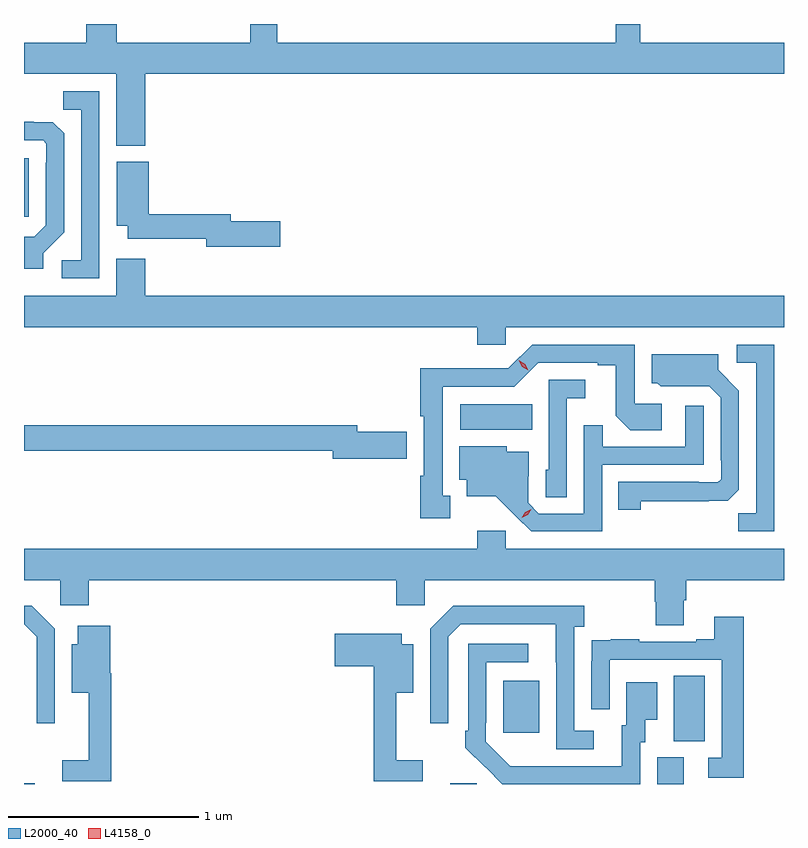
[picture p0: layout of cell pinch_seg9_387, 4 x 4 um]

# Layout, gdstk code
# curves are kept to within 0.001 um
import gdstk
lib = gdstk.Library(unit=1e-6, precision=1e-09)
def R(c, l, rs):  # rectangles x0, y0, x1, y1
    for r in rs: c.add(gdstk.rectangle(r[:2], r[2:], *l))
def P(c, l, *ps):  # polygons
    for p in ps: c.add(gdstk.Polygon(p, *l))
L2000_40 = (2000, 40)
L4158_0 = (4158, 0)

pinch_seg9_387 = lib.new_cell('pinch_seg9_387')
R(pinch_seg9_387, L2000_40, [(327.998,1232.643,328.054,1232.646), (330.242,1232.643,330.381,1232.646), (331.331,1232.643,331.471,1232.784), (331.418,1232.869,331.582,1233.212), (330.521,1232.913,330.709,1233.187), (330.294,1234.508,330.674,1234.642), (327.998,1235.628,328.023,1235.937)])
P(pinch_seg9_387, L2000_40, [(331.998,1236.544),(331.241,1236.544),(331.241,1236.643),(331.113,1236.643),(331.113,1236.544),(329.33,1236.544),(329.33,1236.643),(329.189,1236.643),(329.189,1236.544),(328.485,1236.544),(328.485,1236.643),(328.325,1236.643),(328.325,1236.544),(327.998,1236.544),(327.998,1236.38),(328.484,1236.38),(328.484,1236.002),(328.637,1236.002),(328.637,1236.38),(331.998,1236.38)],
  [(328.395,1236.288),(328.204,1236.288),(328.204,1236.193),(328.299,1236.193),(328.299,1235.4),(328.197,1235.4),(328.197,1235.304),(328.395,1235.304)],
  [(328.099,1235.436),(328.209,1235.546),(328.209,1236.068),(328.15,1236.127),(327.998,1236.128),(327.998,1236.03),(328.098,1236.03),(328.116,1236.012),(328.116,1235.912),(328.113,1235.912),(328.113,1235.583),(328.053,1235.523),(327.998,1235.523),(327.998,1235.354),(328.099,1235.354)],
  [(329.347,1235.606),(329.086,1235.606),(329.086,1235.642),(328.654,1235.642),(328.654,1235.917),(328.487,1235.917),(328.487,1235.582),(328.544,1235.582),(328.544,1235.514),(328.958,1235.514),(328.958,1235.471),(329.347,1235.471)],
  [(330.534,1235.048),(331.998,1235.048),(331.998,1235.212),(328.637,1235.212),(328.637,1235.407),(328.484,1235.407),(328.484,1235.212),(327.998,1235.212),(327.998,1235.048),(330.383,1235.048),(330.383,1234.955),(330.534,1234.955)],
  [(330.241,1234.161),(330.202,1234.161),(330.202,1234.734),(330.579,1234.734),(330.705,1234.86),(331.019,1234.86),(331.019,1234.848),(331.113,1234.848),(331.113,1234.58),(331.189,1234.504),(331.354,1234.504),(331.354,1234.644),(331.212,1234.644),(331.212,1234.956),(330.672,1234.956),(330.546,1234.83),(330.324,1234.83),(330.324,1234.832),(330.084,1234.832),(330.084,1234.579),(330.101,1234.579),(330.101,1234.265),(330.084,1234.265),(330.084,1234.041),(330.241,1234.041)],
  [(331.947,1234.956),(331.749,1234.956),(331.749,1234.86),(331.851,1234.86),(331.851,1234.067),(331.756,1234.067),(331.756,1233.972),(331.947,1233.972)],
  [(331.245,1234.132),(331.702,1234.133),(331.761,1234.192),(331.761,1234.714),(331.651,1234.824),(331.651,1234.906),(331.301,1234.906),(331.301,1234.752),(331.332,1234.752),(331.348,1234.736),(331.605,1234.737),(331.665,1234.677),(331.665,1234.348),(331.668,1234.348),(331.668,1234.248),(331.65,1234.23),(331.55,1234.23),(331.55,1234.233),(331.126,1234.233),(331.126,1234.086),(331.245,1234.086)],
  [(330.855,1234.673),(330.952,1234.673),(330.952,1234.77),(330.759,1234.77),(330.759,1234.296),(330.744,1234.296),(330.744,1234.153),(330.855,1234.153)],
  [(331.041,1234.323),(331.575,1234.323),(331.575,1234.633),(331.479,1234.633),(331.479,1234.419),(331.043,1234.419),(331.043,1234.532),(330.945,1234.532),(330.945,1234.065),(330.708,1234.065),(330.651,1234.122),(330.651,1234.264),(330.655,1234.264),(330.655,1234.393),(330.54,1234.393),(330.54,1234.42),(330.29,1234.42),(330.29,1234.244),(330.329,1234.244),(330.329,1234.157),(330.481,1234.157),(330.668,1233.972),(331.041,1233.972)],
  [(330.013,1234.496),(329.752,1234.496),(329.752,1234.532),(327.998,1234.532),(327.998,1234.396),(329.624,1234.396),(329.624,1234.354),(330.013,1234.354)],
  [(331.471,1233.61),(331.484,1233.61),(331.484,1233.716),(331.998,1233.716),(331.998,1233.88),(330.534,1233.88),(330.534,1233.976),(330.383,1233.976),(330.383,1233.88),(327.998,1233.88),(327.998,1233.716),(328.188,1233.716),(328.188,1233.585),(328.34,1233.585),(328.34,1233.716),(329.957,1233.716),(329.957,1233.585),(330.108,1233.585),(330.108,1233.716),(331.319,1233.716),(331.319,1233.603),(331.324,1233.603),(331.324,1233.478),(331.471,1233.478)],
  [(330.997,1232.922),(330.894,1232.922),(330.894,1233.47),(330.946,1233.47),(330.946,1233.58),(330.256,1233.58),(330.135,1233.459),(330.135,1232.964),(330.231,1232.964),(330.231,1233.417),(330.297,1233.483),(330.797,1233.483),(330.798,1232.826),(330.997,1232.826)],
  [(328.161,1233.459),(328.04,1233.58),(327.998,1233.58),(327.998,1233.483),(327.999,1233.483),(328.065,1233.417),(328.065,1232.964),(328.161,1232.964)],
  [(331.787,1233.523),(331.631,1233.523),(331.631,1233.406),(331.535,1233.406),(331.535,1233.393),(331.235,1233.393),(331.235,1233.406),(331.087,1233.406),(331.087,1233.399),(330.985,1233.399),(330.985,1233.29),(330.984,1233.29),(330.984,1233.036),(331.08,1233.036),(331.08,1233.297),(331.671,1233.297),(331.671,1232.781),(331.599,1232.781),(331.599,1232.676),(331.787,1232.676)],
  [(328.457,1233.226),(328.451,1233.226),(328.451,1233.475),(328.28,1233.475),(328.28,1233.379),(328.25,1233.379),(328.25,1233.122),(328.34,1233.122),(328.34,1232.767),(328.2,1232.767),(328.2,1232.658),(328.457,1232.658)],
  [(330.097,1232.767),(329.957,1232.767),(329.957,1233.122),(330.046,1233.122),(330.046,1233.379),(329.986,1233.379),(329.986,1233.433),(329.634,1233.433),(329.634,1233.263),(329.839,1233.263),(329.839,1232.658),(330.097,1232.658)],
  [(331.242,1232.862),(331.267,1232.862),(331.267,1232.981),(331.33,1232.981),(331.33,1233.178),(331.169,1233.178),(331.169,1232.952),(331.145,1232.952),(331.145,1232.736),(330.558,1232.737),(330.429,1232.865),(330.429,1232.965),(330.432,1232.965),(330.432,1233.285),(330.652,1233.285),(330.652,1233.381),(330.336,1233.381),(330.336,1232.923),(330.321,1232.923),(330.321,1232.835),(330.515,1232.643),(331.242,1232.643)])
P(pinch_seg9_387, L4158_0, [(330.618,1234.044),(330.618,1234.045),(330.636,1234.074),(330.667,1234.09),(330.667,1234.09),(330.667,1234.09),(330.65,1234.06),(330.619,1234.044)],
  [(330.652,1234.82),(330.62,1234.839),(330.602,1234.872),(330.602,1234.872),(330.603,1234.872),(330.635,1234.853),(330.652,1234.821),(330.652,1234.82)])

lib.write_gds('pinch_seg9_387.gds')
